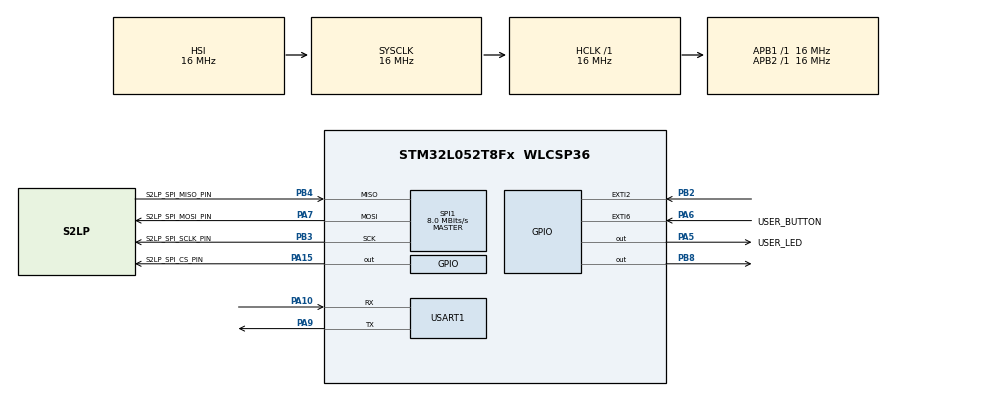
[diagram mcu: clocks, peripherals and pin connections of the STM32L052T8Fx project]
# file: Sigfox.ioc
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Dma.Request0=SPI1_TX
Dma.Request1=SPI1_RX
Dma.Request2=USART1_RX
Dma.Request3=USART1_TX
Dma.SPI1_RX.1.Direction=DMA_PERIPH_TO_MEMORY
Dma.SPI1_RX.1.Instance=DMA1_Channel2
Dma.SPI1_RX.1.MemDataAlignment=DMA_MDATAALIGN_BYTE
Dma.SPI1_RX.1.MemInc=DMA_MINC_ENABLE
Dma.SPI1_RX.1.Mode=DMA_NORMAL
Dma.SPI1_RX.1.PeriphDataAlignment=DMA_PDATAALIGN_BYTE
Dma.SPI1_RX.1.PeriphInc=DMA_PINC_DISABLE
Dma.SPI1_RX.1.Priority=DMA_PRIORITY_HIGH
Dma.SPI1_TX.0.Direction=DMA_MEMORY_TO_PERIPH
Dma.SPI1_TX.0.Instance=DMA1_Channel3
Dma.SPI1_TX.0.MemDataAlignment=DMA_MDATAALIGN_BYTE
Dma.SPI1_TX.0.MemInc=DMA_MINC_ENABLE
Dma.SPI1_TX.0.Mode=DMA_NORMAL
Dma.SPI1_TX.0.PeriphDataAlignment=DMA_PDATAALIGN_BYTE
Dma.SPI1_TX.0.PeriphInc=DMA_PINC_DISABLE
Dma.SPI1_TX.0.Priority=DMA_PRIORITY_HIGH
Dma.USART1_RX.2.Direction=DMA_PERIPH_TO_MEMORY
Dma.USART1_RX.2.Instance=DMA1_Channel5
Dma.USART1_RX.2.MemDataAlignment=DMA_MDATAALIGN_BYTE
Dma.USART1_RX.2.MemInc=DMA_MINC_ENABLE
Dma.USART1_RX.2.Mode=DMA_CIRCULAR
Dma.USART1_RX.2.PeriphDataAlignment=DMA_PDATAALIGN_BYTE
Dma.USART1_RX.2.PeriphInc=DMA_PINC_DISABLE
Dma.USART1_RX.2.Priority=DMA_PRIORITY_LOW
Dma.USART1_TX.3.Direction=DMA_MEMORY_TO_PERIPH
Dma.USART1_TX.3.Instance=DMA1_Channel4
Dma.USART1_TX.3.MemDataAlignment=DMA_MDATAALIGN_BYTE
Dma.USART1_TX.3.MemInc=DMA_MINC_ENABLE
Dma.USART1_TX.3.Mode=DMA_NORMAL
Dma.USART1_TX.3.PeriphDataAlignment=DMA_PDATAALIGN_BYTE
Dma.USART1_TX.3.PeriphInc=DMA_PINC_DISABLE
Dma.USART1_TX.3.Priority=DMA_PRIORITY_HIGH
Mcu.Family=STM32L0
Mcu.Name=STM32L052T8Fx
Mcu.Package=WLCSP36
NVIC.DMA1_Channel2_3_IRQn=true\:1\:0\:true\:false\:true\:false\:true
NVIC.DMA1_Channel4_5_6_7_IRQn=true\:0\:0\:false\:false\:true\:false\:true
NVIC.EXTI2_3_IRQn=true\:0\:0\:false\:false\:true\:true\:true
NVIC.EXTI4_15_IRQn=true\:2\:0\:true\:false\:true\:true\:true
NVIC.RTC_IRQn=true\:1\:0\:true\:false\:true\:true\:true
NVIC.TIM21_IRQn=true\:0\:0\:false\:false\:true\:true\:true
PA10.GPIO_Speed=GPIO_SPEED_FREQ_HIGH
PA10.Mode=Asynchronous
PA10.Signal=USART1_RX
PA13.Mode=Serial_Wire
PA13.Signal=SYS_SWDIO
PA14.Mode=Serial_Wire
PA14.Signal=SYS_SWCLK
PA15.GPIO_Label=S2LP_SPI_CS_PIN
PA15.GPIO_PuPd=GPIO_PULLUP
PA15.GPIO_Speed=GPIO_SPEED_FREQ_HIGH
PA15.PinState=GPIO_PIN_SET
PA15.Signal=GPIO_Output
PA5.GPIO_Label=USER_LED
PA5.Signal=GPIO_Output
PA6.GPIO_Label=USER_BUTTON
PA6.GPIO_ModeDefaultEXTI=GPIO_MODE_IT_FALLING
PA6.GPIO_PuPd=GPIO_PULLUP
PA6.Signal=GPXTI6
PA7.GPIO_Label=S2LP_SPI_MOSI_PIN
PA7.GPIO_PuPd=GPIO_PULLUP
PA7.GPIO_Speed=GPIO_SPEED_FREQ_HIGH
PA7.Mode=Full_Duplex_Master
PA7.Signal=SPI1_MOSI
PA9.Mode=Asynchronous
PA9.Signal=USART1_TX
PB2.GPIO_ModeDefaultEXTI=GPIO_MODE_IT_FALLING
PB2.Signal=GPXTI2
PB3.GPIO_Label=S2LP_SPI_SCLK_PIN
PB3.GPIO_PuPd=GPIO_PULLUP
PB3.GPIO_Speed=GPIO_SPEED_FREQ_HIGH
PB3.Mode=Full_Duplex_Master
PB3.Signal=SPI1_SCK
PB4.GPIO_Label=S2LP_SPI_MISO_PIN
PB4.GPIO_PuPd=GPIO_PULLUP
PB4.GPIO_Speed=GPIO_SPEED_FREQ_HIGH
PB4.Mode=Full_Duplex_Master
PB4.Signal=SPI1_MISO
PB8.GPIO_FM8=__NULL
PB8.GPIO_Speed=GPIO_SPEED_FREQ_HIGH
PB8.Signal=GPIO_Output
ProjectManager.HeapSize=0x200
ProjectManager.StackSize=0x400
ProjectManager.TargetToolchain=MDK-ARM V5
RCC.AHBFreq_Value=16000000
RCC.APB1Freq_Value=16000000
RCC.APB1TimFreq_Value=16000000
RCC.APB2Freq_Value=16000000
RCC.APB2TimFreq_Value=16000000
RCC.HCLKFreq_Value=16000000
RCC.HSI16_VALUE=16000000
RCC.HSI48_VALUE=48000000
RCC.HSI_VALUE=16000000
RCC.LSE_VALUE=32768
RCC.MSI_VALUE=2097000
RCC.PLLDIV=RCC_PLLDIV_4
RCC.PLLMUL=RCC_PLLMUL_4
RCC.SYSCLKFreq_VALUE=16000000
RCC.SYSCLKSource=RCC_SYSCLKSOURCE_HSI
RCC.VCOOutputFreq_Value=64000000
RTC.AsynchPrediv=127
RTC.SynchPrediv=255
RTC.WakeUpCounter=1000
SPI1.BaudRatePrescaler=SPI_BAUDRATEPRESCALER_2
SPI1.CalculateBaudRate=8.0 MBits/s
SPI1.Direction=SPI_DIRECTION_2LINES
SPI1.Mode=SPI_MODE_MASTER
SPI1.VirtualNSS=VM_NSSHARD
SPI1.VirtualType=VM_MASTER
TIM21.Period=50-1
TIM21.Prescaler=16000-1
USART1.VirtualMode-Asynchronous=VM_ASYNC
VP_ADC_TempSens_Input.Mode=IN-TempSens
VP_ADC_Vref_Input.Mode=IN-Vrefint
VP_RTC_VS_RTC_Activate.Mode=RTC_Enabled
VP_RTC_VS_RTC_Calendar.Mode=RTC_Calendar
VP_RTC_VS_RTC_WakeUp_intern.Mode=WakeUp
VP_TIM21_VS_ClockSourceINT.Mode=Internal
VP_TIM2_VS_ClockSourceINT.Mode=Internal
board=custom

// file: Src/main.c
/* USER CODE BEGIN Header */
/**
 ******************************************************************************
 * @file           : main.c
 * @brief          : Main program body
 ******************************************************************************
 * @attention
 *
 * <h2><center>&copy; Copyright (c) 2019 STMicroelectronics.
 * All rights reserved.</center></h2>
 *
 * This software component is licensed by ST under BSD 3-Clause license,
 * the "License"; You may not use this file except in compliance with the
 * License. You may obtain a copy of the License at:
 *                        opensource.org/licenses/BSD-3-Clause
 *
 ******************************************************************************
 */
/* USER CODE END Header */

#include "main.h"
#include "adc.h"
#include "dma.h"
#include "rtc.h"
#include "spi.h"
#include "tim.h"
#include "usart.h"
#include "gpio.h"

/* USER CODE BEGIN PD */

#ifdef DOWNLINK_FLAG
static uint8_t downlink_request = 1;
#else
static uint8_t downlink_request = 0;
#endif
/* USER CODE END PD */

void SystemClock_Config(void);
/* USER CODE BEGIN PFP */
void ST_Init(void);
/* USER CODE END PFP */

int main(void)
{

  /* MCU Configuration--------------------------------------------------------*/

  /* Reset of all peripherals, Initializes the Flash interface and the Systick. */
  HAL_Init();

  /* Configure the system clock */
  SystemClock_Config();

  /* Initialize all configured peripherals */
  MX_GPIO_Init();
  MX_DMA_Init();
  MX_SPI1_Init();
  MX_RTC_Init();
  MX_USART1_UART_Init();
  MX_ADC_Init();
  MX_TIM2_Init();
  MX_TIM21_Init();
  /* USER CODE BEGIN 2 */

	mcuConfig();

	/********** OPEN AND CONFIFIGURES SIGFOX LIBRARY IN RCZ2 *********************/
	/********** IN ORDER TO OPEN OTHER RCZS, SEE SIGFOX_API.h **/
	/********** BASICALLY CHANGES TO OTHER RC VALUE LIKE RCZ3 **/
	HT_API_ConfigRegion(RCZ2);

  /* USER CODE END 2 */

  /* Infinite loop */
	while (1)
	{

    /* USER CODE BEGIN 3 */

		/*
		 *
		 * Wait for an external interrupt on the user button PA6.
		 * More information about the algorithm can be found in the function HT_GPIO_UserButtonHandler located in Application/User/gpio.c.
		 *
		 * */
	}
  /* USER CODE END 3 */
}

void SystemClock_Config(void)
{
  RCC_OscInitTypeDef RCC_OscInitStruct = {0};
  RCC_ClkInitTypeDef RCC_ClkInitStruct = {0};
  RCC_PeriphCLKInitTypeDef PeriphClkInit = {0};

  /** Configure the main internal regulator output voltage
  */
  __HAL_PWR_VOLTAGESCALING_CONFIG(PWR_REGULATOR_VOLTAGE_SCALE1);
  /** Initializes the CPU, AHB and APB busses clocks
  */
  RCC_OscInitStruct.OscillatorType = RCC_OSCILLATORTYPE_HSI|RCC_OSCILLATORTYPE_LSI;
  RCC_OscInitStruct.HSIState = RCC_HSI_ON;
  RCC_OscInitStruct.HSICalibrationValue = RCC_HSICALIBRATION_DEFAULT;
  RCC_OscInitStruct.LSIState = RCC_LSI_ON;
  RCC_OscInitStruct.PLL.PLLState = RCC_PLL_NONE;
  if (HAL_RCC_OscConfig(&RCC_OscInitStruct) != HAL_OK)
  {
    Error_Handler();
  }
  /** Initializes the CPU, AHB and APB busses clocks
  */
  RCC_ClkInitStruct.ClockType = RCC_CLOCKTYPE_HCLK|RCC_CLOCKTYPE_SYSCLK
                              |RCC_CLOCKTYPE_PCLK1|RCC_CLOCKTYPE_PCLK2;
  RCC_ClkInitStruct.SYSCLKSource = RCC_SYSCLKSOURCE_HSI;
  RCC_ClkInitStruct.AHBCLKDivider = RCC_SYSCLK_DIV1;
  RCC_ClkInitStruct.APB1CLKDivider = RCC_HCLK_DIV1;
  RCC_ClkInitStruct.APB2CLKDivider = RCC_HCLK_DIV1;

  if (HAL_RCC_ClockConfig(&RCC_ClkInitStruct, FLASH_LATENCY_0) != HAL_OK)
  {
    Error_Handler();
  }
  PeriphClkInit.PeriphClockSelection = RCC_PERIPHCLK_USART1|RCC_PERIPHCLK_RTC;
  PeriphClkInit.Usart1ClockSelection = RCC_USART1CLKSOURCE_PCLK2;
  PeriphClkInit.RTCClockSelection = RCC_RTCCLKSOURCE_LSI;
  if (HAL_RCCEx_PeriphCLKConfig(&PeriphClkInit) != HAL_OK)
  {
    Error_Handler();
  }
}

/* USER CODE BEGIN 4 */

void HT_API_setSmpsVoltageAction(sfx_u8 mode) {
	ST_RF_API_smps(mode);
	printf("Set_smps_voltage %d\n", mode);
}

void HT_API_switchPa(uint8_t state) {

	ST_RF_API_set_pa(state);

	printf("Switch PA: %d\n", state);
}

void HT_API_ConfigRegion(rc_mask RCZ) {
	sfx_error_t error = SFX_ERR_NONE;

	switch(RCZ){
	case RCZ1:
	{
		error = SIGFOX_API_open(&(sfx_rc_t)RC1);
		if(error) {
			printf("Open rcz error: %X\n", error);
			break;
		}

		ST_RF_API_reduce_output_power(RCZ1_OUTPUT_POWER);
		HT_API_switchPa(0);
		HT_API_setSmpsVoltageAction(7);

		break;
	}
	case RCZ2:
	{
		sfx_u32 config_words[3]={1,0,0};

		error = SIGFOX_API_open(&(sfx_rc_t)RC2);
		if(error) {
			printf("Open rcz error: %X\n", error);
			break;
		}

		error = SIGFOX_API_set_std_config(config_words,0);
		if(error) {
			printf("Set Std Config error: %X\n", error);
			break;
		}

		ST_RF_API_reduce_output_power(RCZ2_OUTPUT_POWER);
		HT_API_switchPa(1);
		HT_API_setSmpsVoltageAction(2);

		break;
	}
	case RCZ3:
	{
		sfx_u32 config_words[3] = RC3C_CONFIG;

		error = SIGFOX_API_open(&(sfx_rc_t)RC3C);
		if(error) {
			printf("Open rcz error: %X\n", error);
			break;
		}

		error = SIGFOX_API_set_std_config(config_words,0);
		if(error) {
			printf("Set Std Config error: %X\n", error);
			break;
		}

		ST_RF_API_reduce_output_power(RCZ3_OUTPUT_POWER);
		HT_API_switchPa(0);
		HT_API_setSmpsVoltageAction(7);

		break;
	}
	case RCZ4:
	{
		sfx_u32 config_words[3]={0,0x40000000,0};

		error = SIGFOX_API_open(&(sfx_rc_t)RC4);
		if(error) {
			printf("Open rcz error: %X\n", error);
			break;
		}

		error = SIGFOX_API_set_std_config(config_words,0);
		if(error) {
			printf("Set Std Config error: %X\n", error);
			break;
		}

		ST_RF_API_reduce_output_power(RCZ4_OUTPUT_POWER);
		HT_API_switchPa(1);
		HT_API_setSmpsVoltageAction(2);

		break;
	}
	case RCZ5:
	{
		sfx_u32 config_words[3]=RC5_CONFIG;

		error = SIGFOX_API_open(&(sfx_rc_t)RC5);
		if(error) {
			printf("Open rcz error: %X\n", error);
			break;
		}

		error = SIGFOX_API_set_std_config(config_words,0);
		if(error) {
			printf("Set Std Config error: %X\n", error);
			break;
		}

		ST_RF_API_reduce_output_power(RCZ5_OUTPUT_POWER);
		HT_API_switchPa(0);
		HT_API_setSmpsVoltageAction(7);

		break;
	}
	case RCZ6:
	{
		error = SIGFOX_API_open(&(sfx_rc_t)RC6);
		if(error) {
			printf("Open rcz error: %X\n", error);
			break;
		}

		ST_RF_API_reduce_output_power(RCZ6_OUTPUT_POWER);
		HT_API_switchPa(0);
		HT_API_setSmpsVoltageAction(7);

		break;
	}
	case RCZ7:
	{
		error = SIGFOX_API_open(&(sfx_rc_t)RC7);
		if(error) {
			printf("Open rcz error: %X\n", error);
			break;
		}

		ST_RF_API_reduce_output_power(RCZ7_OUTPUT_POWER);
		HT_API_switchPa(0);
		HT_API_setSmpsVoltageAction(7);

		break;
	}
	default:
		break;
	}

}

sfx_error_t HT_API_SendFrame(void) {

	/********** SEND MESSAGE TO RCZ2 ****************************/

	uint8_t customer_data[12]={0xAA, 0xAA, 0xAA, 0xAA, 0xBA, 0xBA, 0xBA, 0xBA, 0xBA, 0xBA, 0xBA, 0xBA};
	uint8_t customer_resp[8];
	sfx_error_t err;

#ifdef DOWNLINK_FLAG
	HAL_TIM_Base_Start_IT(&htim21);
#endif

	/********** FUNCTION PARAMETERS  ****************************/
	/********** THE LAST ONE IS TO REQUEST DOWNLINK ************/
	/********** 1 - YES, 0 - NO	 ******************************/

	err=SIGFOX_API_send_frame(customer_data,sizeof(customer_data),customer_resp, 3, downlink_request);

	if(downlink_request && !err) {
		printf("Customer resp: {");

		for(uint16_t i = 0; i < 7; i++)
			printf("0x%x,", customer_resp[i]);

		printf("0x%x}\n\r", customer_resp[7]);
	}

	printf("\nError Send Frame: %X\n", err);

#ifdef DOWNLINK_FLAG
	HAL_TIM_Base_Stop_IT(&htim21);
#endif

	return err;
}

void mcuConfig(void) {
	ST_SFX_ERR stSfxRetErr;

	ST_Init();

	NVM_BoardDataType sfxConfiguration;
	stSfxRetErr = ST_Sigfox_Init(&sfxConfiguration, 0);

	if(stSfxRetErr != ST_SFX_ERR_NONE) {
		if(stSfxRetErr == ST_SFX_ERR_CREDENTIALS) {
			sfxConfiguration.id = 0;
			memset(sfxConfiguration.pac, 0x00, 8);
			sfxConfiguration.rcz = 0;
		}
	}

	/* Calibrate RTC in case of STM32*/
	ST_MCU_API_TimerCalibration(500);

	printf("Sigfox iMCP HT32SX\n");

	printf("ID: %.8X - PAC: ", (unsigned int)sfxConfiguration.id);

	for(uint16_t i = 0; i < sizeof(sfxConfiguration.pac); i++)
	{
		printf("%.2X", sfxConfiguration.pac[i]);
	}

	printf("\n");

	/*			SET S2LP XTAL FREQUENCY														*/
	/*			DO NOT CHANGE IT																	*/

	ST_RF_API_set_xtal_freq(50000000);

	/*			SET A PROPER FREQUENCY OFFSET											*/
	/*			THIS VALUE CAN BE FOUND IN CREDENTIALS 						*/

	ST_RF_API_set_freq_offset(sfxConfiguration.freqOffset);
	printf("Freq Offset %d \n", (int32_t)sfxConfiguration.freqOffset);

	/*			SET LBT OFFSET																		*/
	/*			THIS VALUE CAN BE FOUND IN CREDENTIALS 						*/

	ST_RF_API_set_lbt_thr_offset(sfxConfiguration.lbtOffset);
	printf("LBT %d \n", (int32_t)sfxConfiguration.lbtOffset);

	/*			SET RSSI OFFSET																		*/
	/*			THIS VALUE CAN BE FOUND IN CREDENTIALS 						*/

	ST_RF_API_set_rssi_offset(sfxConfiguration.rssiOffset);
	printf("RSSI %d \n", sfxConfiguration.rssiOffset);
}

void ST_Init(void) {
	/* Put the radio off */
	S2LPShutdownInit();
	HAL_Delay(10);
	S2LPShutdownExit();

	/* FEM Initialization */
	FEM_Init();
}

/* USER CODE END 4 */

void Error_Handler(void)
{
}

/************************ (C) COPYRIGHT STMicroelectronics *****END OF FILE****/
